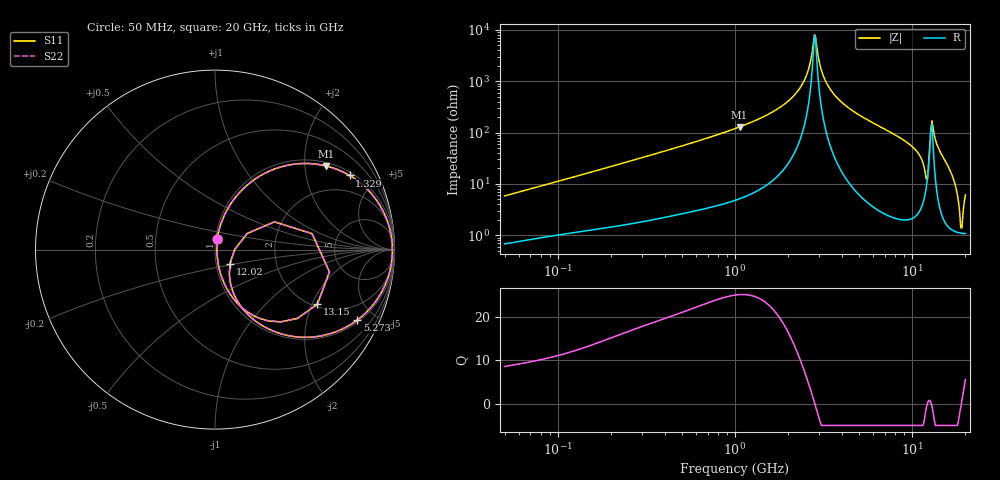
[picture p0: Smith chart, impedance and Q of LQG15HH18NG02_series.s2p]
!Murata Part Number: LQG15HH18NG02
!These Parameters are Measured in Series Mode Connection
!  o--[Z]--o
!Port1  Port2
!  o-------o
!Freq. Start=50[MHz] Stop=20[GHz], 401[Steps]
# Hz S RI R 50
!Freq.(Hz) S11(Real) S11(Imag) S21(Real) S21(Imag) S12(Real) S12(Imag) S22(Real) S22(Imag)
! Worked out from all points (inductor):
!   401 points, 50 MHz to 20 GHz, reference 50 ohm
!   read as one part in series: L = 18.2 nH near 51.52 MHz
!   highest Q = 25 at 1.062 GHz (marker M1), where L = 19.3 nH
!   self-resonance near 2.811 GHz
!   S11 on the Smith chart (normalised r, x): 50 MHz: 1.01, +0.12; 1.329 GHz: 1.15, +3.54; 5.273 GHz: 1.10, -3.98; 12.02 GHz: 1.17, -0.19; 13.15 GHz: 2.10, -2.20; 20 GHz: 1.02, +0.12
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5e7  0.01 0.0571  0.99 -0.0571  0.99 -0.0571  0.01 0.0571
1.364002e8  0.0332 0.144  0.9668 -0.144  0.9668 -0.144  0.0332 0.144
3.721004e8  0.1538 0.3355  0.8462 -0.3355  0.8462 -0.3355  0.1538 0.3355
1e9  0.5844 0.4732  0.4156 -0.4732  0.4156 -0.4732  0.5844 0.4732
1.061746e9  0.6198 0.4659  0.3802 -0.4659  0.3802 -0.4659  0.6198 0.4659
1.329223e9  0.7497 0.4132  0.2503 -0.4132  0.2503 -0.4132  0.7497 0.4132
2.211938e9  0.9593 0.1615  0.0407 -0.1615  0.0407 -0.1615  0.9593 0.1615
2.531158e9  0.9821 0.074  0.0179 -0.074  0.0179 -0.074  0.9821 0.074
2.728004e9  0.9875 0.0235  0.0125 -0.0235  0.0125 -0.0235  0.9875 0.0235
2.853386e9  0.9883 -0.00712  0.0117 0.00712  0.0117 0.00712  0.9883 -0.00712
3.121702e9  0.9838 -0.0688  0.0162 0.0688  0.0162 0.0688  0.9838 -0.0688
3.572216e9  0.962 -0.1607  0.038 0.1607  0.038 0.1607  0.962 -0.1607
5.273168e9  0.7923 -0.3929  0.2077 0.3929  0.2077 0.3929  0.7923 -0.3929
7.442007e9  0.5193 -0.4884  0.4807 0.4884  0.4807 0.4884  0.5193 -0.4884
1.034674e10  0.198 -0.3755  0.802 0.3755  0.802 0.3755  0.198 -0.3755
1.201863e10  0.0838 -0.0782  0.9162 0.0782  0.9162 0.0782  0.0838 -0.0782
1.257102e10  0.3313 0.1546  0.6687 -0.1546  0.6687 -0.1546  0.3313 0.1546
1.314879e10  0.5704 -0.3044  0.4296 0.3044  0.4296 0.3044  0.5704 -0.3044
1.375312e10  0.2952 -0.3969  0.7048 0.3969  0.7048 0.3969  0.2952 -0.3969
1.670968e10  0.0356 -0.1484  0.9644 0.1484  0.9644 0.1484  0.0356 -0.1484
1.88369e10  0.011 -0.00847  0.989 0.00847  0.989 0.00847  0.011 -0.00847
2e10  0.0142 0.0585  0.9858 -0.0585  0.9858 -0.0585  0.0142 0.0585
